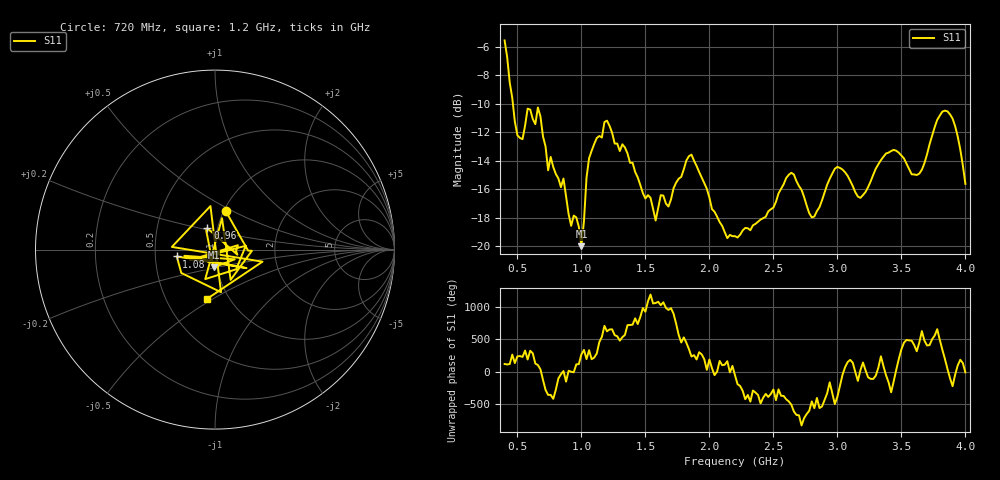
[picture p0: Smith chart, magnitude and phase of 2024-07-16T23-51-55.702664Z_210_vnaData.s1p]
!Created with skrf (http://scikit-rf.org).
# Hz S RI R 50.0
!freq ReS11 ImS11
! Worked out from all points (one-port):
!   181 points, 400 MHz to 4 GHz, reference 50 ohm
!   lowest |S11| = -20.0 dB at 1 GHz (marker M1), VSWR 1.22, Z = 48.2 - j9.7 ohm
!   |S11| at or under -10 dB: 464.9 MHz to end of sweep
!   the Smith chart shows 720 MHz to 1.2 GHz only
!   S11 on the Smith chart (normalised r, x): 720 MHz: 1.02, +0.46; 960 MHz: 0.89, +0.22; 1.08 GHz: 0.65, -0.05; 1.2 GHz: 0.80, -0.47
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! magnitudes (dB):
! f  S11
! 400 MHz  -5.5
! 500 MHz  -12.2
! 660 MHz  -10.3
! 720 MHz  -13.0
! 740 MHz  -14.7
! 860 MHz  -15.2
! 920 MHz  -18.6
! 960 MHz  -18.0
! 1 GHz  -20.0
! 1.04 GHz  -15.2
! 1.08 GHz  -13.3
! 1.2 GHz  -11.2
! 1.3 GHz  -13.3
! 1.58 GHz  -18.2
! 1.76 GHz  -15.3
! 1.86 GHz  -13.6
! 2.14 GHz  -19.4
! 2.2 GHz  -19.3
! 2.66 GHz  -15.0
! 2.8 GHz  -18.0
! 2.98 GHz  -14.6
! 3.1 GHz  -15.4
! 3.18 GHz  -16.6
! 3.44 GHz  -13.2
! 3.56 GHz  -14.6
! 3.64 GHz  -14.9
! 3.86 GHz  -10.5
! 4 GHz  -15.6
